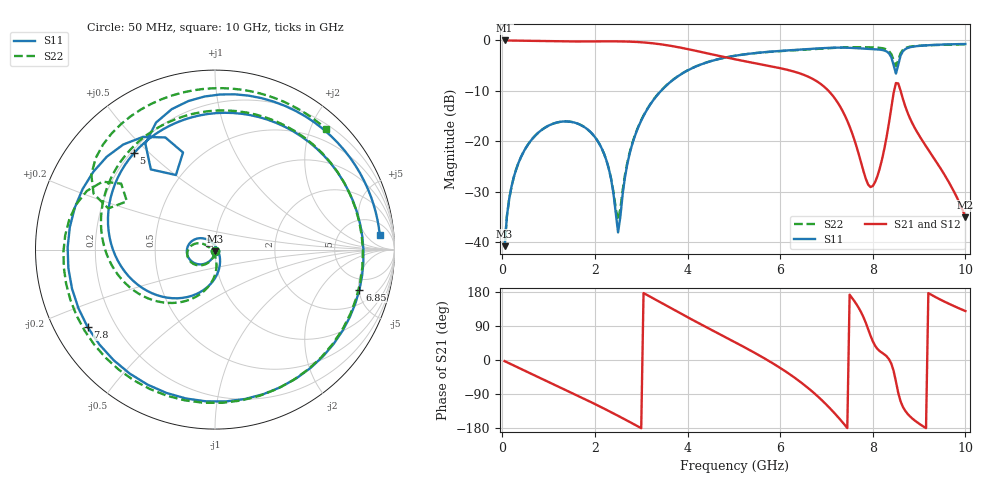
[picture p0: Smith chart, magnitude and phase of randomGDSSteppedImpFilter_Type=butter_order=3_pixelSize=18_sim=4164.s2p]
! freq	dB(S11)	phase(S11)	dB(S12)	phase(S12)
!  dB(S21)	phase(S21)	dB(S22)	phase(S22)
!S-par simulation data
#  GHz  S  DB  R 50
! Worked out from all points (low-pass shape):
!   200 points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, 50 MHz to 10 GHz, reference 50 ohm
!   highest |S21| = 0.00 dB at 50 MHz (marker M1); lowest = -35.0 dB at 10 GHz (marker M2)
!   |S21| within 3 dB of the highest: start of sweep to 4.65 GHz
!   lowest |S11| = -40.8 dB at 50 MHz (marker M3), VSWR 1.02, Z = 50 - j0.913 ohm
!   |S11| at or under -10 dB: start of sweep to 3.427 GHz
!   |S22| runs from -40.8 to -0.8 dB; largest |S21 - S12| = 0
!   S11 on the Smith chart (normalised r, x): 50 MHz: 1.00, -0.02; 5 GHz: 0.21, +0.45; 6.85 GHz: 3.46, -5.08; 7.8 GHz: 0.10, -0.28; 10 GHz: 11, +12
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0.05  -40.77 -92.3  -0.00 -3.0  -0.00 -3.0  -40.77 -92.1
0.2  -28.92 -102.0  -0.03 -11.7  -0.03 -11.7  -28.92 -101.0
0.55  -20.70 -123.9  -0.08 -32.1  -0.08 -32.1  -20.70 -121.1
1.75  -17.04 162.2  -0.21 -101.4  -0.21 -101.4  -17.04 174.2
2.25  -23.82 124.5  -0.18 -131.5  -0.18 -131.5  -23.80 153.7
2.5  -38.05 35.0  -0.19 -147.2  -0.19 -147.2  -35.64 -147.5
2.8  -20.75 -73.2  -0.26 -166.7  -0.26 -166.7  -20.59 -84.9
3.4  -10.27 -120.4  -0.74 153.0  -0.74 153.0  -10.22 -116.1
4.15  -5.29 -173.2  -2.00 103.1  -2.00 103.1  -5.26 -162.3
5  -3.08 130.2  -3.69 48.6  -3.69 48.6  -3.07 146.0
5.05  -3.00 126.9  -3.78 45.3  -3.78 45.3  -3.00 142.8
6  -2.08 60.4  -5.50 -20.9  -5.50 -20.9  -2.12 77.1
6.7  -1.65 0.2  -7.61 -83.9  -7.61 -83.9  -1.74 10.8
6.85  -1.57 -15.4  -8.45 -100.3  -8.45 -100.3  -1.65 -6.7
7.4  -1.43 -85.9  -14.93 -172.2  -14.93 -172.2  -1.38 -80.2
7.8  -1.61 -148.7  -25.93 112.7  -25.93 112.7  -1.34 -135.3
8.05  -1.74 171.2  -28.08 37.7  -28.08 37.7  -1.40 -167.0
8.35  -2.56 122.5  -16.33 2.2  -16.33 2.2  -2.10 155.4
8.45  -4.89 108.2  -10.41 -28.6  -10.41 -28.6  -3.89 144.9
8.55  -4.85 128.7  -8.52 -86.7  -8.52 -86.7  -3.92 158.9
8.95  -1.13 77.7  -18.05 -163.7  -18.05 -163.7  -1.08 117.8
10  -0.71 5.1  -35.02 129.2  -35.02 129.2  -0.78 47.4
